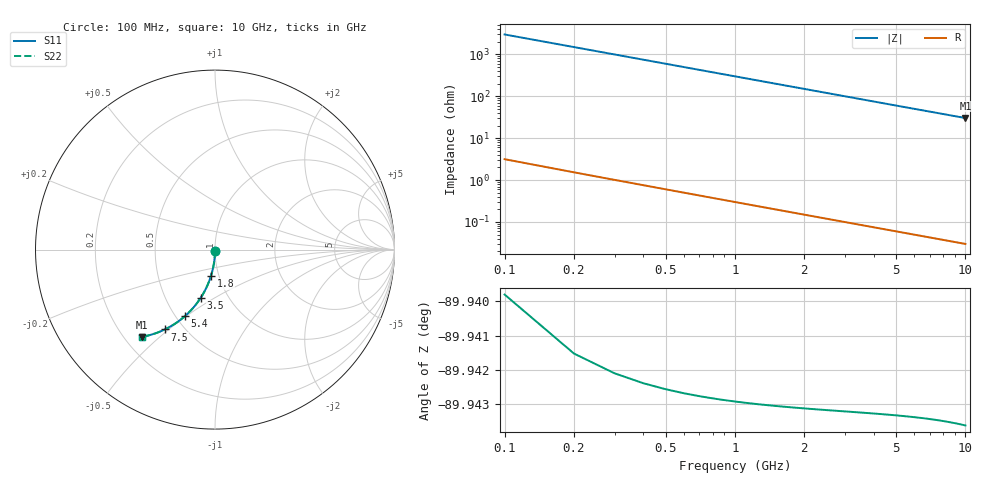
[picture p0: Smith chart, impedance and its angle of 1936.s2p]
# Hz S RI R 50.00
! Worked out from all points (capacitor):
!   100 points, 100 MHz to 10 GHz, reference 50 ohm
!   read as one part in shunt: C = 531 fF near 100 MHz
!   lowest |Z| = 30.3 ohm at 10 GHz (marker M1)
!   S11 on the Smith chart (normalised r, x): 100 MHz: 1.00, -0.02; 1.8 GHz: 0.92, -0.27; 3.5 GHz: 0.75, -0.43; 5.4 GHz: 0.56, -0.49; 7.5 GHz: 0.39, -0.48; 10 GHz: 0.27, -0.44
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1e8  -6.66e-05 -0.0083  0.9999 -0.00839  0.9999 -0.00839  -6.66e-05 -0.0083
2e8  -0.000284 -0.0166  0.9997 -0.0168  0.9997 -0.0168  -0.000284 -0.0166
3e8  -0.00064 -0.0249  0.9993 -0.0252  0.9993 -0.0252  -0.00064 -0.0249
4e8  -0.00114 -0.0332  0.9988 -0.0335  0.9988 -0.0335  -0.00114 -0.0332
5e8  -0.00177 -0.0414  0.9982 -0.0419  0.9982 -0.0419  -0.00177 -0.0414
6e8  -0.00254 -0.0497  0.9974 -0.0502  0.9974 -0.0502  -0.00254 -0.0497
8e8  -0.00449 -0.0661  0.9955 -0.0668  0.9955 -0.0668  -0.00449 -0.0661
1.1e9  -0.00843 -0.0905  0.9915 -0.0915  0.9915 -0.0915  -0.00843 -0.0905
1.4e9  -0.0136 -0.1146  0.9864 -0.1158  0.9864 -0.1158  -0.0136 -0.1146
1.8e9  -0.0222 -0.146  0.9778 -0.1476  0.9778 -0.1476  -0.0222 -0.146
2.1e9  -0.0299 -0.1689  0.9701 -0.1708  0.9701 -0.1708  -0.0299 -0.1689
2.5e9  -0.0418 -0.1985  0.9582 -0.2008  0.9582 -0.2008  -0.0418 -0.1985
2.9e9  -0.0554 -0.2269  0.9446 -0.2296  0.9446 -0.2296  -0.0554 -0.2269
3.4e9  -0.0745 -0.2605  0.9255 -0.2636  0.9255 -0.2636  -0.0745 -0.2605
3.5e9  -0.0786 -0.267  0.9214 -0.2702  0.9214 -0.2702  -0.0786 -0.267
4.3e9  -0.1138 -0.3151  0.8861 -0.3191  0.8861 -0.3191  -0.1138 -0.3151
5.1e9  -0.1528 -0.357  0.8472 -0.3617  0.8472 -0.3617  -0.1528 -0.357
5.4e9  -0.1681 -0.371  0.8319 -0.376  0.8319 -0.376  -0.1681 -0.371
6.7e9  -0.2368 -0.4215  0.7631 -0.4278  0.7631 -0.4278  -0.2368 -0.4215
7.5e9  -0.2797 -0.4449  0.7203 -0.4518  0.7203 -0.4518  -0.2797 -0.4449
8.4e9  -0.3272 -0.4648  0.6727 -0.4726  0.6727 -0.4726  -0.3272 -0.4648
1e10  -0.4075 -0.4862  0.5925 -0.4956  0.5925 -0.4956  -0.4075 -0.4862
